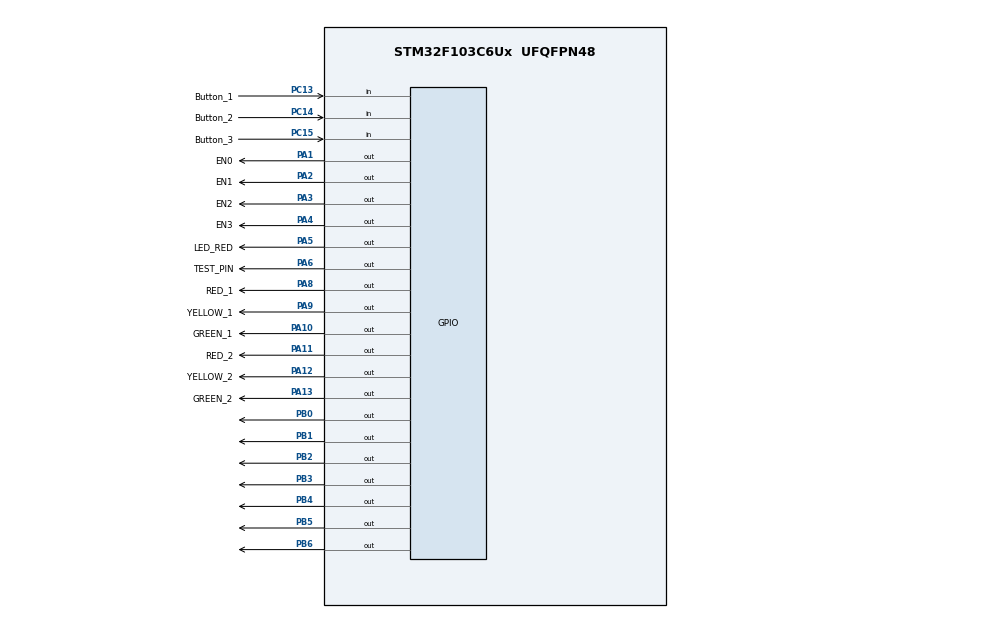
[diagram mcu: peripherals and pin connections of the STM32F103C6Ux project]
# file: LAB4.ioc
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Mcu.Family=STM32F1
Mcu.Name=STM32F103C6Ux
Mcu.Package=UFQFPN48
NVIC.PriorityGroup=NVIC_PRIORITYGROUP_4
NVIC.TIM2_IRQn=true\:0\:0\:false\:false\:true\:true\:true
PA1.GPIO_Label=EN0
PA1.Signal=GPIO_Output
PA10.GPIO_Label=GREEN_1
PA10.Signal=GPIO_Output
PA11.GPIO_Label=RED_2
PA11.Signal=GPIO_Output
PA12.GPIO_Label=YELLOW_2
PA12.Signal=GPIO_Output
PA13.GPIO_Label=GREEN_2
PA13.Signal=GPIO_Output
PA2.GPIO_Label=EN1
PA2.Signal=GPIO_Output
PA3.GPIO_Label=EN2
PA3.Signal=GPIO_Output
PA4.GPIO_Label=EN3
PA4.Signal=GPIO_Output
PA5.GPIO_Label=LED_RED
PA5.Signal=GPIO_Output
PA6.GPIO_Label=TEST_PIN
PA6.Signal=GPIO_Output
PA8.GPIO_Label=RED_1
PA8.Signal=GPIO_Output
PA9.GPIO_Label=YELLOW_1
PA9.Signal=GPIO_Output
PB0.Signal=GPIO_Output
PB1.Signal=GPIO_Output
PB2.Signal=GPIO_Output
PB3.Signal=GPIO_Output
PB4.Signal=GPIO_Output
PB5.Signal=GPIO_Output
PB6.Signal=GPIO_Output
PC13-TAMPER-RTC.GPIO_Label=Button_1
PC13-TAMPER-RTC.Signal=GPIO_Input
PC14-OSC32_IN.GPIO_Label=Button_2
PC14-OSC32_IN.Signal=GPIO_Input
PC15-OSC32_OUT.GPIO_Label=Button_3
PC15-OSC32_OUT.Signal=GPIO_Input
ProjectManager.HeapSize=0x200
ProjectManager.StackSize=0x400
ProjectManager.TargetToolchain=STM32CubeIDE
RCC.APB1Freq_Value=8000000
RCC.APB2Freq_Value=8000000
TIM2.Period=9
TIM2.Prescaler=7999
VP_SYS_VS_ND.Mode=No_Debug
VP_TIM2_VS_ClockSourceINT.Mode=Internal
board=custom

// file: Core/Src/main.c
/* USER CODE BEGIN Header */
/**
  ******************************************************************************
  * @file           : main.c
  * @brief          : Main program body
  ******************************************************************************
  * @attention
  *
  * <h2><center>&copy; Copyright (c) 2025 STMicroelectronics.
  * All rights reserved.</center></h2>
  *
  * This software component is licensed by ST under BSD 3-Clause license,
  * the "License"; You may not use this file except in compliance with the
  * License. You may obtain a copy of the License at:
  *                        opensource.org/licenses/BSD-3-Clause
  *
  ******************************************************************************
  */
/* USER CODE END Header */
#include "main.h"

/* USER CODE BEGIN Includes */
#include "software_timer.h"
#include "fsm.h"
#include "button.h"
#include "scheduler.h"
/* USER CODE END Includes */

TIM_HandleTypeDef htim2;

void SystemClock_Config(void);
static void MX_TIM2_Init(void);
static void MX_GPIO_Init(void);

//void LED_Blinky(void){
//	HAL_GPIO_TogglePin(LED_RED_GPIO_Port, LED_RED_Pin);
//}
void Task_Toggle_GREEN1(void){
	// Ví dụ: Nhấp nháy đèn tín hiệu Xanh 1
	HAL_GPIO_TogglePin(GREEN_1_GPIO_Port, GREEN_1_Pin);
}

// Task 2: Chu kỳ 1.0s (1000ms / 100 Ticks)
void Task_Toggle_YELLOW1(void){
	// Ví dụ: Nhấp nháy đèn tín hiệu Vàng 1
	HAL_GPIO_TogglePin(YELLOW_1_GPIO_Port, YELLOW_1_Pin);
}

// Task 3: Chu kỳ 1.5s (1500ms / 150 Ticks)
void Task_Toggle_RED2(void){
	// Ví dụ: Nhấp nháy đèn tín hiệu Đỏ 2
	HAL_GPIO_TogglePin(RED_2_GPIO_Port, RED_2_Pin);
}

// Task 4: Chu kỳ 2.0s (2000ms / 200 Ticks)
void Task_Toggle_YELLOW2(void){
	// Ví dụ: Nhấp nháy đèn tín hiệu Vàng 2
	HAL_GPIO_TogglePin(YELLOW_2_GPIO_Port, YELLOW_2_Pin);
}
void Task_Toggle_RED1(void){
    // Ví dụ: Nhấp nháy đèn tín hiệu Đỏ 1
    HAL_GPIO_TogglePin(RED_1_GPIO_Port, RED_1_Pin);
}
int main(void)
{

  /* MCU Configuration--------------------------------------------------------*/

  /* Reset of all peripherals, Initializes the Flash interface and the Systick. */
  HAL_Init();

  /* Configure the system clock */
  SystemClock_Config();

  /* Initialize all configured peripherals */
  MX_TIM2_Init();
  MX_GPIO_Init();
  /* USER CODE BEGIN 2 */
  HAL_TIM_Base_Start_IT(&htim2);
  SCH_Init();

  //SCH_Add_Task(LED_Blinky, 0, 100, 0); // (100 * 10ms = 1s)

    // Task 1: Chu kỳ 0.5s (500ms)
    SCH_Add_Task(Task_Toggle_GREEN1, 0, 50, 0); // (50 * 10ms = 0.5s)

    // Task 2: Chu kỳ 1.0s (1000ms) - Đã có LED_Blinky, ta dùng cho Task khác
    SCH_Add_Task(Task_Toggle_YELLOW1, 0, 100, 0); // (100 * 10ms = 1.0s)

    // Task 3: Chu kỳ 1.5s (1500ms)
    SCH_Add_Task(Task_Toggle_RED1, 0, 150, 0); // (150 * 10ms = 1.5s)

    // Task 4: Chu kỳ 2.0s (2000ms)
    SCH_Add_Task(Task_Toggle_YELLOW2, 0, 200, 0); // (200 * 10ms = 2.0s)
    SCH_Add_Task(Task_Toggle_RED2, 0, 250, 0); // 2.5s
     SCH_Add_Task(timerRun,	0,	1,0);
     SCH_Add_Task(getKeyInput, 0, 1,0);
    SCH_Add_Task(fsm_auto_2way_run, 0, 500, 0);
  /* USER CODE END 2 */

  /* Infinite loop */
  while (1)
  {
	  SCH_Dispatch_Tasks();
	        // --- Dùng để DEBUG/Kiểm tra ---
	        if (Error_code_G != 0) {
	            // Báo hiệu bằng LED nếu phát hiện lỗi
	            HAL_GPIO_WritePin(GPIOA, TEST_PIN_Pin, GPIO_PIN_RESET);
	        } else {
	            HAL_GPIO_WritePin(GPIOA, TEST_PIN_Pin, GPIO_PIN_SET);
	        }
  }
}

void SystemClock_Config(void)
{
  RCC_OscInitTypeDef RCC_OscInitStruct = {0};
  RCC_ClkInitTypeDef RCC_ClkInitStruct = {0};

  /** Initializes the RCC Oscillators according to the specified parameters
  * in the RCC_OscInitTypeDef structure.
  */
  RCC_OscInitStruct.OscillatorType = RCC_OSCILLATORTYPE_HSI;
  RCC_OscInitStruct.HSIState = RCC_HSI_ON;
  RCC_OscInitStruct.HSICalibrationValue = RCC_HSICALIBRATION_DEFAULT;
  RCC_OscInitStruct.PLL.PLLState = RCC_PLL_NONE;
  if (HAL_RCC_OscConfig(&RCC_OscInitStruct) != HAL_OK)
  {
    Error_Handler();
  }
  /** Initializes the CPU, AHB and APB buses clocks
  */
  RCC_ClkInitStruct.ClockType = RCC_CLOCKTYPE_HCLK|RCC_CLOCKTYPE_SYSCLK
                              |RCC_CLOCKTYPE_PCLK1|RCC_CLOCKTYPE_PCLK2;
  RCC_ClkInitStruct.SYSCLKSource = RCC_SYSCLKSOURCE_HSI;
  RCC_ClkInitStruct.AHBCLKDivider = RCC_SYSCLK_DIV1;
  RCC_ClkInitStruct.APB1CLKDivider = RCC_HCLK_DIV1;
  RCC_ClkInitStruct.APB2CLKDivider = RCC_HCLK_DIV1;

  if (HAL_RCC_ClockConfig(&RCC_ClkInitStruct, FLASH_LATENCY_0) != HAL_OK)
  {
    Error_Handler();
  }
}

static void MX_TIM2_Init(void)
{

  TIM_ClockConfigTypeDef sClockSourceConfig = {0};
  TIM_MasterConfigTypeDef sMasterConfig = {0};

  htim2.Instance = TIM2;
  htim2.Init.Prescaler = 7999;
  htim2.Init.CounterMode = TIM_COUNTERMODE_UP;
  htim2.Init.Period = 9;
  htim2.Init.ClockDivision = TIM_CLOCKDIVISION_DIV1;
  htim2.Init.AutoReloadPreload = TIM_AUTORELOAD_PRELOAD_DISABLE;
  if (HAL_TIM_Base_Init(&htim2) != HAL_OK)
  {
    Error_Handler();
  }
  sClockSourceConfig.ClockSource = TIM_CLOCKSOURCE_INTERNAL;
  if (HAL_TIM_ConfigClockSource(&htim2, &sClockSourceConfig) != HAL_OK)
  {
    Error_Handler();
  }
  sMasterConfig.MasterOutputTrigger = TIM_TRGO_RESET;
  sMasterConfig.MasterSlaveMode = TIM_MASTERSLAVEMODE_DISABLE;
  if (HAL_TIMEx_MasterConfigSynchronization(&htim2, &sMasterConfig) != HAL_OK)
  {
    Error_Handler();
  }

}

static void MX_GPIO_Init(void)
{
  GPIO_InitTypeDef GPIO_InitStruct = {0};

  /* GPIO Ports Clock Enable */
  __HAL_RCC_GPIOC_CLK_ENABLE();
  __HAL_RCC_GPIOA_CLK_ENABLE();
  __HAL_RCC_GPIOB_CLK_ENABLE();

  /*Configure GPIO pin Output Level */
  HAL_GPIO_WritePin(GPIOA, EN0_Pin|EN1_Pin|EN2_Pin|EN3_Pin
                          |LED_RED_Pin|TEST_PIN_Pin|RED_1_Pin|YELLOW_1_Pin
                          |GREEN_1_Pin|RED_2_Pin|YELLOW_2_Pin|GREEN_2_Pin, GPIO_PIN_RESET);

  /*Configure GPIO pin Output Level */
  HAL_GPIO_WritePin(GPIOB, GPIO_PIN_0|GPIO_PIN_1|GPIO_PIN_2|GPIO_PIN_3
                          |GPIO_PIN_4|GPIO_PIN_5|GPIO_PIN_6, GPIO_PIN_RESET);

  /*Configure GPIO pins : Button_1_Pin Button_2_Pin Button_3_Pin */
  GPIO_InitStruct.Pin = Button_1_Pin|Button_2_Pin|Button_3_Pin;
  GPIO_InitStruct.Mode = GPIO_MODE_INPUT;
  GPIO_InitStruct.Pull = GPIO_NOPULL;
  HAL_GPIO_Init(GPIOC, &GPIO_InitStruct);

  /*Configure GPIO pins : EN0_Pin EN1_Pin EN2_Pin EN3_Pin
                           LED_RED_Pin TEST_PIN_Pin RED_1_Pin YELLOW_1_Pin
                           GREEN_1_Pin RED_2_Pin YELLOW_2_Pin GREEN_2_Pin */
  GPIO_InitStruct.Pin = EN0_Pin|EN1_Pin|EN2_Pin|EN3_Pin
                          |LED_RED_Pin|TEST_PIN_Pin|RED_1_Pin|YELLOW_1_Pin
                          |GREEN_1_Pin|RED_2_Pin|YELLOW_2_Pin|GREEN_2_Pin;
  GPIO_InitStruct.Mode = GPIO_MODE_OUTPUT_PP;
  GPIO_InitStruct.Pull = GPIO_NOPULL;
  GPIO_InitStruct.Speed = GPIO_SPEED_FREQ_LOW;
  HAL_GPIO_Init(GPIOA, &GPIO_InitStruct);

  /*Configure GPIO pins : PB0 PB1 PB2 PB3
                           PB4 PB5 PB6 */
  GPIO_InitStruct.Pin = GPIO_PIN_0|GPIO_PIN_1|GPIO_PIN_2|GPIO_PIN_3
                          |GPIO_PIN_4|GPIO_PIN_5|GPIO_PIN_6;
  GPIO_InitStruct.Mode = GPIO_MODE_OUTPUT_PP;
  GPIO_InitStruct.Pull = GPIO_NOPULL;
  GPIO_InitStruct.Speed = GPIO_SPEED_FREQ_LOW;
  HAL_GPIO_Init(GPIOB, &GPIO_InitStruct);

}

/* USER CODE BEGIN 4 */
void HAL_TIM_PeriodElapsedCallback (TIM_HandleTypeDef *htim) {
	SCH_Update();
}
/* USER CODE END 4 */

void Error_Handler(void)
{
  __disable_irq();
  while (1)
  {
  }
}

/************************ (C) COPYRIGHT STMicroelectronics *****END OF FILE****/
